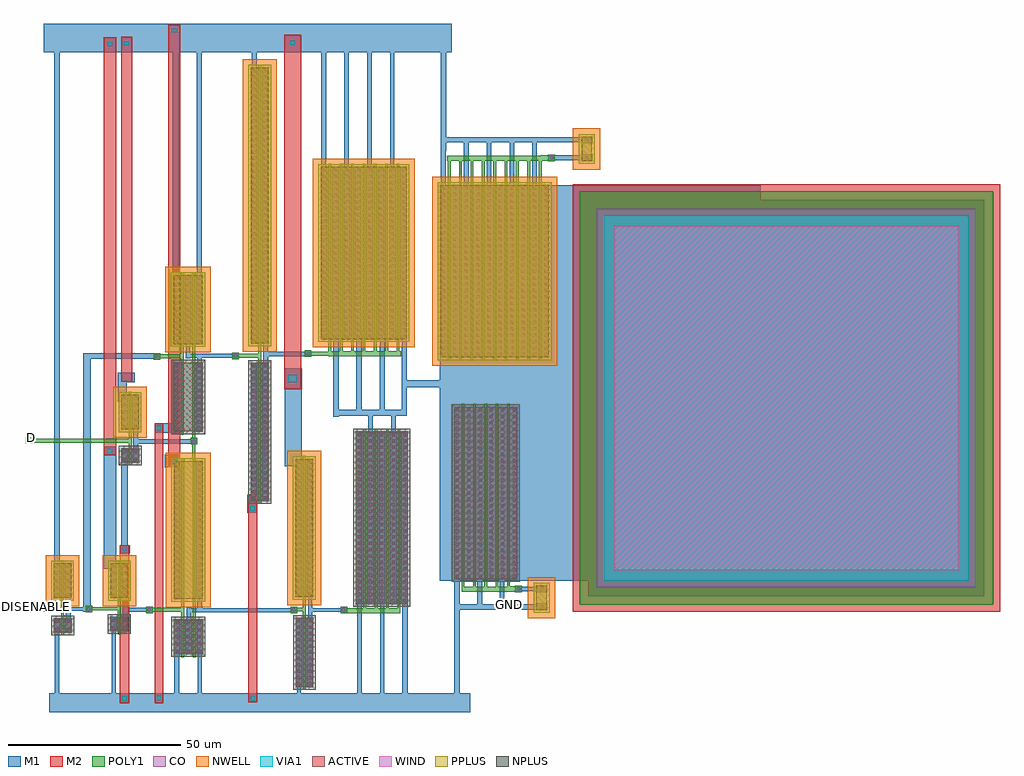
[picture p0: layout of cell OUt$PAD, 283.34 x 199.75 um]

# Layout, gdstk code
import gdstk
lib = gdstk.Library(unit=1e-6, precision=1e-08)
def R(c, l, rs):  # rectangles x0, y0, x1, y1
    for r in rs: c.add(gdstk.rectangle(r[:2], r[2:], *l))
def A(c, l, x, y, w, h, nx, ny, dx, dy):  # array of equal rectangles
    R(c, l, [(x+i*dx, y+j*dy, x+i*dx+w, y+j*dy+h) for i in range(nx) for j in range(ny)])
ACTIVE = (10, 0)
NWELL = (20, 0)
NPLUS = (25, 0)
PPLUS = (26, 0)
POLY1 = (30, 0)
CO = (35, 0)
M1 = (40, 0)
VIA1 = (41, 0)
M2 = (42, 0)
WIND = (65, 0)

pmos_1 = lib.new_cell('pMOS$1')
R(pmos_1, ACTIVE, [(-2.5,-5,-0.8,5), (-1.4,-5,1.4,5), (0.8,-5,2.5,5)])
R(pmos_1, NWELL, [(-4.9,-7.4,4.9,7.4)])
R(pmos_1, PPLUS, [(-3.3,-5.8,3.3,5.8)])
R(pmos_1, POLY1, [(-0.4,-5.9,0.4,5.9)])
A(pmos_1, CO, -2.1, -2.53, 0.9, 0.9, 1, 3, 0, 2.08)
A(pmos_1, CO, 1.2, -2.53, 0.9, 0.9, 1, 3, 0, 2.08)
R(pmos_1, CO, [(-2.1,-4.6,-1.2,-3.7), (1.2,-4.6,2.1,-3.7), (-2.1,3.7,-1.2,4.6), (1.2,3.7,2.1,4.6)])
R(pmos_1, M1, [(-2.6,-5.1,-0.7,5.1), (0.7,-5.1,2.6,5.1)])

nmos_1 = lib.new_cell('nMOS$1')
R(nmos_1, ACTIVE, [(-2.5,-2,-0.8,2), (-1.4,-2,1.4,2), (0.8,-2,2.5,2)])
R(nmos_1, NPLUS, [(-3.3,-2.8,3.3,2.8)])
R(nmos_1, POLY1, [(-0.4,-2.9,0.4,2.9)])
R(nmos_1, CO, [(-2.1,-1.6,-1.2,-0.7), (1.2,-1.6,2.1,-0.7), (-2.1,0.7,-1.2,1.6), (1.2,0.7,2.1,1.6)])
R(nmos_1, M1, [(-2.6,-2.1,-0.7,2.1), (0.7,-2.1,2.6,2.1)])

pmos_2 = lib.new_cell('pMOS$2')
R(pmos_2, ACTIVE, [(-2.5,-10,-0.8,10), (-1.4,-10,1.4,10), (0.8,-10,2.5,10)])
R(pmos_2, NWELL, [(-4.9,-12.4,4.9,12.4)])
R(pmos_2, PPLUS, [(-3.3,-10.8,3.3,10.8)])
R(pmos_2, POLY1, [(-0.4,-10.9,0.4,10.9)])
A(pmos_2, CO, -2.1, -9.6, 0.9, 0.9, 1, 11, 0, 1.83)
A(pmos_2, CO, 1.2, -9.6, 0.9, 0.9, 1, 11, 0, 1.83)
R(pmos_2, M1, [(-2.6,-10.1,-0.7,10.1), (0.7,-10.1,2.6,10.1)])

nmos_3 = lib.new_cell('nMOS$3')
R(nmos_3, ACTIVE, [(-2.5,-10,-0.8,10), (-1.4,-10,1.4,10)])
R(nmos_3, NPLUS, [(-3.3,-10.8,2.2,10.8)])
R(nmos_3, POLY1, [(-0.4,-10.9,0.4,10.9)])
A(nmos_3, CO, -2.1, -9.6, 0.9, 0.9, 1, 11, 0, 1.83)
R(nmos_3, M1, [(-2.6,-10.1,-0.7,10.1)])

nmos = lib.new_cell('nMOS')
R(nmos, ACTIVE, [(-1.4,-10,1.4,10), (0.8,-10,2.5,10)])
R(nmos, NPLUS, [(-2.2,-10.8,3.3,10.8)])
R(nmos, POLY1, [(-0.4,-10.9,0.4,10.9)])
A(nmos, CO, 1.2, -9.6, 0.9, 0.9, 1, 11, 0, 1.83)
R(nmos, M1, [(0.7,-10.1,2.6,10.1)])

pmos_4 = lib.new_cell('pMOS$4')
R(pmos_4, ACTIVE, [(-2.5,-20,-0.8,20), (-1.4,-20,1.4,20)])
R(pmos_4, NWELL, [(-4.9,-22.4,3.8,22.4)])
R(pmos_4, PPLUS, [(-3.3,-20.8,2.2,20.8)])
R(pmos_4, POLY1, [(-0.4,-20.9,0.4,20.9)])
A(pmos_4, CO, -2.1, -15.95, 0.9, 0.9, 1, 3, 0, 1.82)
A(pmos_4, CO, -2.1, -6.83, 0.9, 0.9, 1, 3, 0, 1.82)
A(pmos_4, CO, -2.1, 2.29, 0.9, 0.9, 1, 3, 0, 1.82)
A(pmos_4, CO, -2.1, 11.41, 0.9, 0.9, 1, 3, 0, 1.82)
R(pmos_4, CO, [(-2.1,-19.6,-1.2,-18.7), (-2.1,-17.78,-1.2,-16.88), (-2.1,-10.48,-1.2,-9.58), (-2.1,-8.66,-1.2,-7.76), (-2.1,-1.36,-1.2,-0.46), (-2.1,0.46,-1.2,1.36), (-2.1,7.76,-1.2,8.66), (-2.1,9.58,-1.2,10.48), (-2.1,16.88,-1.2,17.78), (-2.1,18.7,-1.2,19.6)])
R(pmos_4, M1, [(-2.6,-20.1,-0.7,20.1)])

pmos = lib.new_cell('pMOS')
R(pmos, ACTIVE, [(-1.4,-20,1.4,20), (0.8,-20,2.5,20)])
R(pmos, NWELL, [(-3.8,-22.4,4.9,22.4)])
R(pmos, PPLUS, [(-2.2,-20.8,3.3,20.8)])
R(pmos, POLY1, [(-0.4,-20.9,0.4,20.9)])
A(pmos, CO, 1.2, -15.95, 0.9, 0.9, 1, 3, 0, 1.82)
A(pmos, CO, 1.2, -6.83, 0.9, 0.9, 1, 3, 0, 1.82)
A(pmos, CO, 1.2, 2.29, 0.9, 0.9, 1, 3, 0, 1.82)
A(pmos, CO, 1.2, 11.41, 0.9, 0.9, 1, 3, 0, 1.82)
R(pmos, CO, [(1.2,-19.6,2.1,-18.7), (1.2,-17.78,2.1,-16.88), (1.2,-10.48,2.1,-9.58), (1.2,-8.66,2.1,-7.76), (1.2,-1.36,2.1,-0.46), (1.2,0.46,2.1,1.36), (1.2,7.76,2.1,8.66), (1.2,9.58,2.1,10.48), (1.2,16.88,2.1,17.78), (1.2,18.7,2.1,19.6)])
R(pmos, M1, [(0.7,-20.1,2.6,20.1)])

nmos_4 = lib.new_cell('nMOS$4')
R(nmos_4, ACTIVE, [(-2.5,-5,-0.8,5), (-1.4,-5,1.4,5), (0.8,-5,2.5,5)])
R(nmos_4, NPLUS, [(-3.3,-5.8,3.3,5.8)])
R(nmos_4, POLY1, [(-0.4,-5.9,0.4,5.9)])
A(nmos_4, CO, -2.1, -2.53, 0.9, 0.9, 1, 3, 0, 2.08)
A(nmos_4, CO, 1.2, -2.53, 0.9, 0.9, 1, 3, 0, 2.08)
R(nmos_4, CO, [(-2.1,-4.6,-1.2,-3.7), (1.2,-4.6,2.1,-3.7), (-2.1,3.7,-1.2,4.6), (1.2,3.7,2.1,4.6)])
R(nmos_4, M1, [(-2.6,-5.1,-0.7,5.1), (0.7,-5.1,2.6,5.1)])

contactpoly1 = lib.new_cell('ContactPoly1')
R(contactpoly1, POLY1, [(-0.95,-0.95,0.95,0.95)])
R(contactpoly1, CO, [(-0.45,-0.45,0.45,0.45)])
R(contactpoly1, M1, [(-0.95,-0.95,0.95,0.95)])

pmos_6 = lib.new_cell('pMOS$6')
R(pmos_6, ACTIVE, [(-2.5,-40,-0.8,40), (-1.4,-40,1.4,40), (0.8,-40,2.5,40)])
R(pmos_6, NWELL, [(-4.9,-42.4,4.9,42.4)])
R(pmos_6, PPLUS, [(-3.3,-40.8,3.3,40.8)])
R(pmos_6, POLY1, [(-0.4,-40.9,0.4,40.9)])
A(pmos_6, CO, -2.1, -39.6, 0.9, 0.9, 1, 6, 0, 1.82)
A(pmos_6, CO, 1.2, -39.6, 0.9, 0.9, 1, 6, 0, 1.82)
A(pmos_6, CO, -2.1, -28.67, 0.9, 0.9, 1, 11, 0, 1.82)
A(pmos_6, CO, 1.2, -28.67, 0.9, 0.9, 1, 11, 0, 1.82)
A(pmos_6, CO, -2.1, -8.64, 0.9, 0.9, 1, 10, 0, 1.82)
A(pmos_6, CO, 1.2, -8.64, 0.9, 0.9, 1, 10, 0, 1.82)
A(pmos_6, CO, -2.1, 9.57, 0.9, 0.9, 1, 11, 0, 1.82)
A(pmos_6, CO, 1.2, 9.57, 0.9, 0.9, 1, 11, 0, 1.82)
A(pmos_6, CO, -2.1, 29.6, 0.9, 0.9, 1, 6, 0, 1.82)
A(pmos_6, CO, 1.2, 29.6, 0.9, 0.9, 1, 6, 0, 1.82)
R(pmos_6, M1, [(-2.6,-40.1,-0.7,40.1), (0.7,-40.1,2.6,40.1)])

nmos_6 = lib.new_cell('nMOS$6')
R(nmos_6, ACTIVE, [(-2.5,-20,-0.8,20), (-1.4,-20,1.4,20), (0.8,-20,2.5,20)])
R(nmos_6, NPLUS, [(-3.3,-20.8,3.3,20.8)])
R(nmos_6, POLY1, [(-0.4,-20.9,0.4,20.9)])
A(nmos_6, CO, -2.1, -15.95, 0.9, 0.9, 1, 3, 0, 1.82)
A(nmos_6, CO, 1.2, -15.95, 0.9, 0.9, 1, 3, 0, 1.82)
A(nmos_6, CO, -2.1, -6.83, 0.9, 0.9, 1, 3, 0, 1.82)
A(nmos_6, CO, 1.2, -6.83, 0.9, 0.9, 1, 3, 0, 1.82)
A(nmos_6, CO, -2.1, 2.29, 0.9, 0.9, 1, 3, 0, 1.82)
A(nmos_6, CO, 1.2, 2.29, 0.9, 0.9, 1, 3, 0, 1.82)
A(nmos_6, CO, -2.1, 11.41, 0.9, 0.9, 1, 3, 0, 1.82)
A(nmos_6, CO, 1.2, 11.41, 0.9, 0.9, 1, 3, 0, 1.82)
R(nmos_6, CO, [(-2.1,-19.6,-1.2,-18.7), (1.2,-19.6,2.1,-18.7), (-2.1,-17.78,-1.2,-16.88), (1.2,-17.78,2.1,-16.88), (-2.1,-10.48,-1.2,-9.58), (1.2,-10.48,2.1,-9.58), (-2.1,-8.66,-1.2,-7.76), (1.2,-8.66,2.1,-7.76), (-2.1,-1.36,-1.2,-0.46), (1.2,-1.36,2.1,-0.46), (-2.1,0.46,-1.2,1.36), (1.2,0.46,2.1,1.36), (-2.1,7.76,-1.2,8.66), (1.2,7.76,2.1,8.66), (-2.1,9.58,-1.2,10.48), (1.2,9.58,2.1,10.48), (-2.1,16.88,-1.2,17.78), (1.2,16.88,2.1,17.78), (-2.1,18.7,-1.2,19.6), (1.2,18.7,2.1,19.6)])
R(nmos_6, M1, [(-2.6,-20.1,-0.7,20.1), (0.7,-20.1,2.6,20.1)])

pmos_8 = lib.new_cell('pMOS$8')
R(pmos_8, ACTIVE, [(-2.5,-20,-0.8,20), (-1.4,-20,1.4,20), (0.8,-20,2.5,20)])
R(pmos_8, NWELL, [(-4.9,-22.4,4.9,22.4)])
R(pmos_8, PPLUS, [(-3.3,-20.8,3.3,20.8)])
R(pmos_8, POLY1, [(-0.4,-20.9,0.4,20.9)])
A(pmos_8, CO, -2.1, -15.95, 0.9, 0.9, 1, 3, 0, 1.82)
A(pmos_8, CO, 1.2, -15.95, 0.9, 0.9, 1, 3, 0, 1.82)
A(pmos_8, CO, -2.1, -6.83, 0.9, 0.9, 1, 3, 0, 1.82)
A(pmos_8, CO, 1.2, -6.83, 0.9, 0.9, 1, 3, 0, 1.82)
A(pmos_8, CO, -2.1, 2.29, 0.9, 0.9, 1, 3, 0, 1.82)
A(pmos_8, CO, 1.2, 2.29, 0.9, 0.9, 1, 3, 0, 1.82)
A(pmos_8, CO, -2.1, 11.41, 0.9, 0.9, 1, 3, 0, 1.82)
A(pmos_8, CO, 1.2, 11.41, 0.9, 0.9, 1, 3, 0, 1.82)
R(pmos_8, CO, [(-2.1,-19.6,-1.2,-18.7), (1.2,-19.6,2.1,-18.7), (-2.1,-17.78,-1.2,-16.88), (1.2,-17.78,2.1,-16.88), (-2.1,-10.48,-1.2,-9.58), (1.2,-10.48,2.1,-9.58), (-2.1,-8.66,-1.2,-7.76), (1.2,-8.66,2.1,-7.76), (-2.1,-1.36,-1.2,-0.46), (1.2,-1.36,2.1,-0.46), (-2.1,0.46,-1.2,1.36), (1.2,0.46,2.1,1.36), (-2.1,7.76,-1.2,8.66), (1.2,7.76,2.1,8.66), (-2.1,9.58,-1.2,10.48), (1.2,9.58,2.1,10.48), (-2.1,16.88,-1.2,17.78), (1.2,16.88,2.1,17.78), (-2.1,18.7,-1.2,19.6), (1.2,18.7,2.1,19.6)])
R(pmos_8, M1, [(-2.6,-20.1,-0.7,20.1), (0.7,-20.1,2.6,20.1)])

nmos_8 = lib.new_cell('nMOS$8')
R(nmos_8, ACTIVE, [(-2.5,-10,-0.8,10), (-1.4,-10,1.4,10), (0.8,-10,2.5,10)])
R(nmos_8, NPLUS, [(-3.3,-10.8,3.3,10.8)])
R(nmos_8, POLY1, [(-0.4,-10.9,0.4,10.9)])
A(nmos_8, CO, -2.1, -9.6, 0.9, 0.9, 1, 11, 0, 1.83)
A(nmos_8, CO, 1.2, -9.6, 0.9, 0.9, 1, 11, 0, 1.83)
R(nmos_8, M1, [(-2.6,-10.1,-0.7,10.1), (0.7,-10.1,2.6,10.1)])

pmos_10 = lib.new_cell('pMOS$10')
R(pmos_10, ACTIVE, [(-2.5,-25,-0.8,25), (-1.4,-25,1.4,25), (0.8,-25,2.5,25)])
R(pmos_10, NWELL, [(-4.9,-27.4,4.9,27.4)])
R(pmos_10, PPLUS, [(-3.3,-25.8,3.3,25.8)])
R(pmos_10, POLY1, [(-0.4,-25.9,0.4,25.9)])
A(pmos_10, CO, -2.1, -20.89, 0.9, 0.9, 1, 5, 0, 1.86)
A(pmos_10, CO, 1.2, -20.89, 0.9, 0.9, 1, 5, 0, 1.86)
A(pmos_10, CO, -2.1, -11.6, 0.9, 0.9, 1, 4, 0, 1.86)
A(pmos_10, CO, 1.2, -11.6, 0.9, 0.9, 1, 4, 0, 1.86)
A(pmos_10, CO, -2.1, -4.17, 0.9, 0.9, 1, 5, 0, 1.86)
A(pmos_10, CO, 1.2, -4.17, 0.9, 0.9, 1, 5, 0, 1.86)
A(pmos_10, CO, -2.1, 5.12, 0.9, 0.9, 1, 4, 0, 1.86)
A(pmos_10, CO, 1.2, 5.12, 0.9, 0.9, 1, 4, 0, 1.86)
A(pmos_10, CO, -2.1, 12.55, 0.9, 0.9, 1, 5, 0, 1.86)
A(pmos_10, CO, 1.2, 12.55, 0.9, 0.9, 1, 5, 0, 1.86)
R(pmos_10, CO, [(-2.1,-24.6,-1.2,-23.7), (1.2,-24.6,2.1,-23.7), (-2.1,-22.74,-1.2,-21.84), (1.2,-22.74,2.1,-21.84), (-2.1,21.84,-1.2,22.74), (1.2,21.84,2.1,22.74), (-2.1,23.7,-1.2,24.6), (1.2,23.7,2.1,24.6)])
R(pmos_10, M1, [(-2.6,-25.1,-0.7,25.1), (0.7,-25.1,2.6,25.1)])

nmos_10 = lib.new_cell('nMOS$10')
R(nmos_10, ACTIVE, [(-2.5,-25,-0.8,25), (-1.4,-25,1.4,25), (0.8,-25,2.5,25)])
R(nmos_10, NPLUS, [(-3.3,-25.8,3.3,25.8)])
R(nmos_10, POLY1, [(-0.4,-25.9,0.4,25.9)])
A(nmos_10, CO, -2.1, -20.89, 0.9, 0.9, 1, 5, 0, 1.86)
A(nmos_10, CO, 1.2, -20.89, 0.9, 0.9, 1, 5, 0, 1.86)
A(nmos_10, CO, -2.1, -11.6, 0.9, 0.9, 1, 4, 0, 1.86)
A(nmos_10, CO, 1.2, -11.6, 0.9, 0.9, 1, 4, 0, 1.86)
A(nmos_10, CO, -2.1, -4.17, 0.9, 0.9, 1, 5, 0, 1.86)
A(nmos_10, CO, 1.2, -4.17, 0.9, 0.9, 1, 5, 0, 1.86)
A(nmos_10, CO, -2.1, 5.12, 0.9, 0.9, 1, 4, 0, 1.86)
A(nmos_10, CO, 1.2, 5.12, 0.9, 0.9, 1, 4, 0, 1.86)
A(nmos_10, CO, -2.1, 12.55, 0.9, 0.9, 1, 5, 0, 1.86)
A(nmos_10, CO, 1.2, 12.55, 0.9, 0.9, 1, 5, 0, 1.86)
R(nmos_10, CO, [(-2.1,-24.6,-1.2,-23.7), (1.2,-24.6,2.1,-23.7), (-2.1,-22.74,-1.2,-21.84), (1.2,-22.74,2.1,-21.84), (-2.1,21.84,-1.2,22.74), (1.2,21.84,2.1,22.74), (-2.1,23.7,-1.2,24.6), (1.2,23.7,2.1,24.6)])
R(nmos_10, M1, [(-2.6,-25.1,-0.7,25.1), (0.7,-25.1,2.6,25.1)])

resistor = lib.new_cell('RESISTOR')
R(resistor, ACTIVE, [(-1.5,-3.5,1.5,3.5)])
R(resistor, NWELL, [(-4,-6,4,6)])
R(resistor, PPLUS, [(-2.3,-4.3,2.3,4.3)])
R(resistor, CO, [(-0.45,-3.05,0.45,-2.15), (-0.45,2.15,0.45,3.05)])
R(resistor, M1, [(-1.7,-3.6,1.7,-1.6), (-1.7,1.6,1.7,3.6)])

pad = lib.new_cell('PAD')
R(pad, POLY1, [(-60,-60,60,60)])
R(pad, CO, [(-55,-55,55,55)])
R(pad, M1, [(-57.5,-57.5,57.5,57.5)])
R(pad, VIA1, [(-53,-53,53,53)])
R(pad, M2, [(-62,-62,62,62)])
R(pad, WIND, [(-50,-50,50,50)])

out_pad = lib.new_cell('OUt$PAD')
R(out_pad, ACTIVE, [(-5.56,-64.68,-4.84,-24.68), (-5.63,-16.07,-4.86,3.93)])
R(out_pad, POLY1, [(-3.92,-70.25,-3.1,-65.18), (-7.2,-70.12,-6.4,-65.16), (-42.09,-69.84,-41.28,-64.9), (28.09,-69.77,28.91,-64.6), (-25.61,-69.55,-24.81,-64.81), (39.39,-68.85,56.36,-67.4), (55.56,-68.85,56.36,-66.86), (52.26,-68.73,53.06,-66.82), (48.96,-68.71,49.77,-66.81), (45.66,-68.6,46.46,-66.76), (-17.06,-68.35,-6.43,-67.32), (24.9,-68.31,28.95,-67.29), (-52.67,-68.28,-41.28,-67.12), (-34.52,-68.05,-24.8,-67.14), (74.19,-62.68,88.02,-61.14), (87.36,-62.68,88.16,-59.53), (87.42,-62.68,91.34,-61.05), (84.06,-61.96,84.86,-59.65), (80.77,-61.92,81.57,-59.61), (77.46,-61.88,78.26,-59.57), (74.17,-61.74,74.97,-59.43), (-4,-24.2,-3.16,-16.52), (-22.47,-20.49,-21.66,-15.96), (-52.03,-19.34,-21.71,-18.21), (15.13,4.27,15.94,9.07), (-7.33,4.42,-6.49,8.71), (-4,4.46,-3.18,8.73), (-14.99,5.19,-6.49,6.34), (7.99,5.34,15.94,6.44), (51.99,5.8,52.79,10.24), (35.57,5.82,56.63,7.19), (29.01,5.83,36.27,7.11), (48.67,5.84,49.47,10.28), (35.48,5.85,36.28,10.29), (42.1,5.85,42.9,10.29), (45.39,5.85,46.19,10.29), (38.79,5.86,39.59,10.3), (55.28,5.9,56.08,10.34), (93.26,55.58,94.06,63.01), (83.36,55.79,84.16,63.22), (76.76,55.83,77.56,63.26), (70.15,55.87,70.95,63.87), (89.94,55.92,90.74,63.35), (73.46,55.99,74.26,63.42), (86.67,55.99,87.47,63.42), (80.05,56,80.85,63.43), (96.55,56,97.35,63.43), (70.02,62.44,97.76,63.91), (97.09,62.49,101.11,64.04)])
R(out_pad, M1, [(-45.59,-97.53,76.65,-92.02), (-43.93,-94.62,-42.66,-72.63), (-9.24,-94.51,-7.78,-78.24), (-27.4,-94.39,-26.28,-72.29), (-2.48,-94.28,-1.24,-78.27), (26.39,-94.05,27.52,-88.64), (43.85,-94.01,45.11,-64.6), (56.95,-93.69,58.47,-64.49), (72.07,-93.57,73.66,-66.08), (50.52,-93.56,51.7,-64.78), (-40.72,-71.89,-39.3,-62.83), (29.57,-71.7,30.85,-62.72), (-5.67,-71.53,-4.4,-67.3), (-24.28,-71.36,-22.8,-62.78), (-5.7,-68.6,26,-67.34), (29.61,-68.48,40.53,-67.34), (-24.22,-68.46,-15.85,-67.19), (-35.68,-68.38,-33.5,6.59), (-2.64,-68.34,-1.21,-63.15), (-40.69,-68.16,-33.43,-67.06), (71.97,-67.83,96.73,-66.29), (85.18,-67.83,86.6,-57.27), (78.73,-67.79,80.11,-57.42), (72.05,-67.75,73.55,-57.46), (89.97,-62.49,98.61,-61.09), (67.86,-59.38,160.94,55.36), (-29.79,-55.96,-26.11,-20.53), (-44.11,-55.84,-42.56,98.68), (-24.94,-51.38,-22.21,-49.16), (-24.67,-51.17,-22.81,-23.33), (11.86,-39.73,14.82,-34.38), (-12.1,-26.51,-7.55,-22.83), (22.75,-26.19,27.72,2.34), (-21.13,-22.35,-19.7,-13.76), (-21.1,-19.58,-2.81,-18.33), (47.05,-17.78,48.36,-9.74), (53.68,-17.68,54.99,-9.79), (-14.97,-16.39,-7.62,-13.71), (36.87,-11.77,38.46,12.26), (37.17,-11.57,58.26,-9.81), (43.55,-11.57,45.12,12.06), (50.41,-11.57,51.79,11.97), (56.79,-11.48,58.26,12.16), (75.47,-10.65,76.82,-1.37), (82.15,-10.47,83.31,-1.2), (88.56,-10.39,89.8,-1.28), (-25.7,-7.4,-22.99,0.98), (78.06,-3.35,79.58,6.95), (91.32,-3.35,92.78,7), (98.12,-3.35,99.37,7), (56.8,-3.3,113.68,-1.25), (71.49,-3.3,73.06,7.16), (84.83,-3.3,86.24,6.85), (-25.7,-1.78,-20.79,0.98), (16.63,2.21,17.97,10.99), (-2.53,2.39,-1.3,6.27), (-35.06,4.99,-13.81,6.56), (-6,5.19,-4.57,10.76), (-5.87,5.27,8.98,6.45), (16.65,5.7,30.16,7.02), (-2.71,27.63,-1.24,99.24), (-9.69,27.79,-8.03,98.85), (68.1,53.89,69.6,68.93), (74.8,53.95,76.18,69.2), (88.07,53.98,89.4,69.18), (94.67,53.98,96,69.18), (81.46,54.06,82.72,69.18), (33.42,59.04,34.79,100.04), (53.41,59.18,54.58,100.23), (40.15,59.27,41.32,100.14), (46.82,59.27,48.09,100.14), (99.57,62.72,110.94,64.07), (68.09,65.41,69.64,100.09), (68.05,67.82,111.08,69.27), (13.17,88.05,14.62,99.69), (-47.15,93.96,71.24,102.22)])
R(out_pad, VIA1, [(-24.42,-94.29,-23.12,-92.97), (12.93,-94.24,14.23,-92.97), (-14.33,-94.08,-13.11,-92.78), (-24.29,-50.78,-23.18,-49.73), (12.82,-39.04,14.12,-37.77), (-10.16,-25.56,-8.42,-23.94), (-28.71,-22.41,-27.32,-21.13), (-14.4,-15.73,-13.14,-14.48), (23.83,-1.73,26.26,0.33), (-28.64,95.72,-27.3,96.95), (-23.74,96.03,-22.49,97.12), (24.41,96.25,25.64,97.31), (-9.96,99.76,-8.36,100.85)])
R(out_pad, M2, [(-25.16,-95,-22.39,-49.15), (-14.96,-94.93,-12.43,-13.72), (12.2,-94.75,14.83,-34.31), (-11.01,-26.44,-7.53,102.01), (-29.76,-23.04,-26.17,98.32), (22.63,-3.89,27.66,99.09), (-24.67,-1.69,-21.44,98.45)])
out_pad.add(gdstk.Reference(pmos_1, (-25.2,-59.36)))
out_pad.add(gdstk.Reference(nmos_1, (-25.22,-71.98)))
out_pad.add(gdstk.Reference(pmos_1, (-25.2,-59.36)))
out_pad.add(gdstk.Reference(pmos_1, (-41.69,-59.36)))
out_pad.add(gdstk.Reference(nmos_1, (-41.67,-72.38)))
out_pad.add(gdstk.Reference(pmos_1, (-22.1,-10.44)))
out_pad.add(gdstk.Reference(nmos_1, (-22.07,-23.03)))
out_pad.add(gdstk.Reference(pmos_2, (-6.93,19.28)))
out_pad.add(gdstk.Reference(pmos_2, (-3.63,19.28)))
out_pad.add(gdstk.Reference(nmos_3, (-6.9,-6.07)))
out_pad.add(gdstk.Reference(nmos, (-3.6,-6.07)))
out_pad.add(gdstk.Reference(pmos_4, (-6.79,-44.69)))
out_pad.add(gdstk.Reference(pmos, (-3.53,-44.68)))
out_pad.add(gdstk.Reference(nmos_4, (-6.8,-75.68)))
out_pad.add(gdstk.Reference(nmos_4, (-3.5,-75.68)))
out_pad.add(gdstk.Reference(contactpoly1, (-51.94,-67.7)))
out_pad.add(gdstk.Reference(contactpoly1, (-51.46,-18.76)))
out_pad.add(gdstk.Reference(contactpoly1, (-3.55,-18.91)))
out_pad.add(gdstk.Reference(contactpoly1, (-16.5,-67.86)))
out_pad.add(gdstk.Reference(contactpoly1, (-34.08,-67.61)))
out_pad.add(gdstk.Reference(contactpoly1, (-14.34,5.74)))
out_pad.add(gdstk.Reference(pmos_6, (15.52,49.53)))
out_pad.add(gdstk.Reference(nmos_6, (15.53,-16.2)))
out_pad.add(gdstk.Reference(contactpoly1, (8.5,5.88)))
out_pad.add(gdstk.Reference(pmos_8, (28.49,-44.1)))
out_pad.add(gdstk.Reference(nmos_8, (28.55,-80.21)))
out_pad.add(gdstk.Reference(contactpoly1, (25.44,-67.88)))
out_pad.add(gdstk.Reference(pmos_10, (35.88,35.71)))
out_pad.add(gdstk.Reference(pmos_10, (39.18,35.71)))
out_pad.add(gdstk.Reference(pmos_10, (42.48,35.71)))
out_pad.add(gdstk.Reference(pmos_10, (45.78,35.71)))
out_pad.add(gdstk.Reference(pmos_10, (55.68,35.71)))
out_pad.add(gdstk.Reference(pmos_10, (52.38,35.71)))
out_pad.add(gdstk.Reference(pmos_10, (49.08,35.71)))
out_pad.add(gdstk.Reference(nmos_10, (46.06,-41.13)))
out_pad.add(gdstk.Reference(nmos_10, (52.66,-41.13)))
out_pad.add(gdstk.Reference(nmos_10, (49.36,-41.13)))
out_pad.add(gdstk.Reference(nmos_10, (55.96,-41.13)))
out_pad.add(gdstk.Reference(contactpoly1, (29.61,6.51)))
out_pad.add(gdstk.Reference(contactpoly1, (39.99,-67.92)))
out_pad.add(gdstk.Reference(pmos_10, (70.56,30.42)))
out_pad.add(gdstk.Reference(pmos_10, (73.86,30.42)))
out_pad.add(gdstk.Reference(pmos_10, (77.16,30.42)))
out_pad.add(gdstk.Reference(pmos_10, (83.76,30.42)))
out_pad.add(gdstk.Reference(pmos_10, (87.06,30.42)))
out_pad.add(gdstk.Reference(pmos_10, (80.46,30.42)))
out_pad.add(gdstk.Reference(pmos_10, (90.36,30.42)))
out_pad.add(gdstk.Reference(pmos_10, (93.66,30.42)))
out_pad.add(gdstk.Reference(pmos_10, (96.96,30.42)))
out_pad.add(gdstk.Reference(nmos_10, (74.56,-33.98)))
out_pad.add(gdstk.Reference(nmos_10, (77.86,-33.98)))
out_pad.add(gdstk.Reference(nmos_10, (81.16,-33.98)))
out_pad.add(gdstk.Reference(nmos_10, (84.46,-33.98)))
out_pad.add(gdstk.Reference(nmos_10, (87.76,-33.98)))
out_pad.add(gdstk.Reference(resistor, (97.37,-64.34)))
out_pad.add(gdstk.Reference(resistor, (110.46,65.95)))
out_pad.add(gdstk.Reference(contactpoly1, (100.3,63.34)))
out_pad.add(gdstk.Reference(contactpoly1, (90.69,-61.75)))
out_pad.add(gdstk.Reference(pad, (168.45,-6.36)))
out_pad.add(gdstk.Label('DISENABLE', (-52.72,-66.79), layer=40, texttype=0))
out_pad.add(gdstk.Label('D', (-50.58,-17.86), layer=40, texttype=0))
out_pad.add(gdstk.Label('GND', (88.17,-66.35), layer=40, texttype=0))

lib.write_gds('OUt_PAD.gds')
